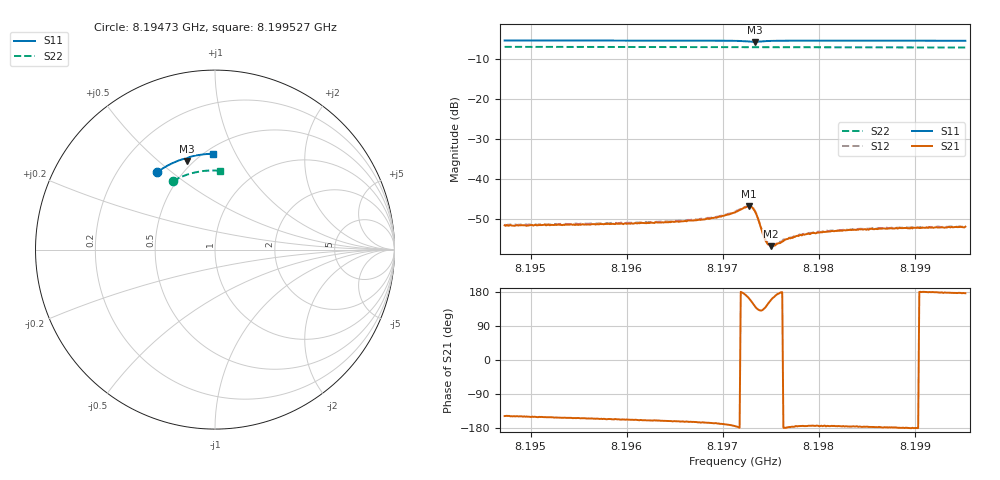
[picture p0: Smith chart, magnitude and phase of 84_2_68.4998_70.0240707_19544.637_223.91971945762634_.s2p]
#  HZ  S  RI  R  50.00
! Rohde & Schwarz Vector Network Analyzer
! Rohde-Schwarz,ZNB20-2Port,1311601062101988,3.16
! Created: UTC 3/20/2024, 4:52:17 PM
! freq[Hz]  re:S11  im:S11  re:S21  im:S21  re:S12  im:S12  re:S22  im:S22
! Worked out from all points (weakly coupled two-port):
!   401 points, 8.19473 GHz to 8.199527 GHz, reference 50 ohm
!   highest |S21| = -46.88 dB at 8.197273 GHz (marker M1); lowest = -56.8 dB at 8.1975 GHz (marker M2)
!   lowest |S11| = -5.7 dB at 8.197333 GHz (marker M3), VSWR 3.14, Z = 23.2 + j31.2 ohm
!   |S11| at or under -10 dB: nowhere
!   |S22| runs from -7.1 to -7.0 dB; largest |S21 - S12| = 0.00025
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8.1947304e9  -0.3236 0.4302  -0.00222 -0.00139  -0.0023 -0.00135  -0.234 0.3818
8.1955339e9  -0.2759 0.4614  -0.0024 -0.00119  -0.0025 -0.00114  -0.194 0.4022
8.1963373e9  -0.2249 0.4874  -0.00267 -0.000989  -0.00277 -0.000893  -0.1522 0.4186
8.1965651e9  -0.2095 0.4939  -0.0028 -0.000883  -0.00289 -0.000784  -0.1399 0.4224
8.1968409e9  -0.1899 0.5009  -0.00308 -0.000786  -0.00318 -0.000684  -0.125 0.4266
8.1969729e9  -0.1799 0.5037  -0.0033 -0.000673  -0.00337 -0.000565  -0.1177 0.4284
8.1971287e9  -0.1663 0.5057  -0.00378 -0.000369  -0.00389 -0.000213  -0.1091 0.4303
8.1972726e9  -0.1532 0.4991  -0.00434 0.0013  -0.00435 0.00147  -0.1011 0.4317
8.1973086e9  -0.1537 0.4949  -0.00385 0.0021  -0.00381 0.0023  -0.0994 0.4319
8.1973326e9  -0.1558 0.4932  -0.00318 0.00242  -0.00312 0.00259  -0.0982 0.4324
8.1973686e9  -0.16 0.4942  -0.00217 0.0023  -0.00209 0.00244  -0.0963 0.4325
8.1974165e9  -0.1614 0.4999  -0.00139 0.00154  -0.00139 0.00166  -0.0937 0.4333
8.1974405e9  -0.1606 0.5025  -0.00127 0.00116  -0.00128 0.00127  -0.0925 0.4335
8.1974645e9  -0.1591 0.5051  -0.00128 0.000878  -0.0013 0.000982  -0.0912 0.434
8.1975005e9  -0.1564 0.5078  -0.00133 0.000552  -0.00137 0.000623  -0.089 0.4343
8.1975485e9  -0.1524 0.5106  -0.00145 0.000262  -0.00148 0.000331  -0.0865 0.4347
8.1976684e9  -0.1428 0.5152  -0.00176 -5.95e-05  -0.0018 2.92e-05  -0.0797 0.436
8.1977763e9  -0.1345 0.5178  -0.00193 -0.000162  -0.00197 -0.000104  -0.0736 0.4368
8.1979322e9  -0.123 0.5209  -0.00209 -0.000247  -0.00211 -0.00016  -0.0649 0.438
8.1983519e9  -0.0927 0.527  -0.00229 -0.000193  -0.00236 -0.000106  -0.0413 0.4401
8.1987356e9  -0.0654 0.5307  -0.00239 -0.000106  -0.00243 -9.48e-07  -0.0197 0.4408
8.1995271e9  -0.00921 0.5338  -0.00252 0.000167  -0.00254 0.00027  0.0253 0.439
